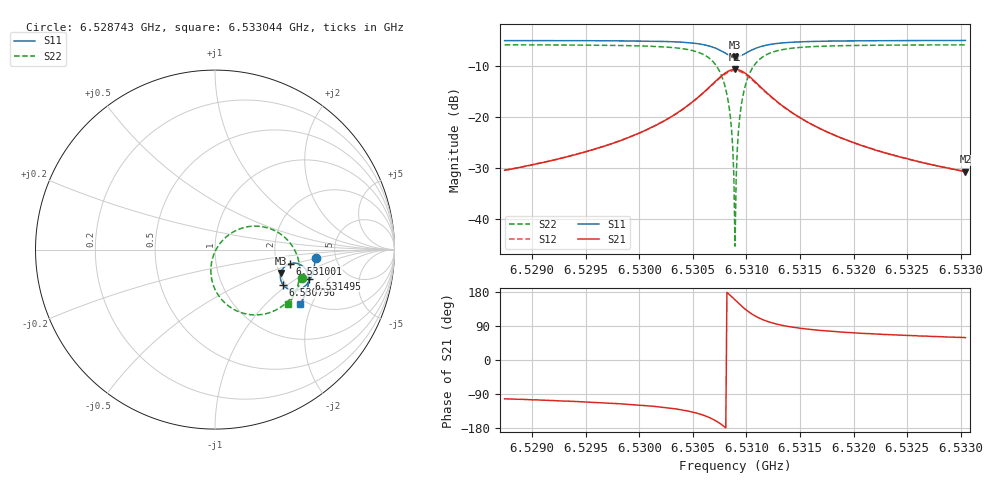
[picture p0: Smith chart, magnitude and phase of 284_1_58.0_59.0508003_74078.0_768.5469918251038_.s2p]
#  HZ  S  RI  R  50.00
! Rohde & Schwarz Vector Network Analyzer
! Rohde-Schwarz,ZNB20-2Port,1311601062101988,3.16
! Created: UTC 3/21/2024, 1:03:00 AM
! freq[Hz]  re:S11  im:S11  re:S21  im:S21  re:S12  im:S12  re:S22  im:S22
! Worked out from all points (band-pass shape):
!   401 points, 6.528743 GHz to 6.533044 GHz, reference 50 ohm
!   highest |S21| = -10.66 dB at 6.530893 GHz (marker M1); lowest = -30.8 dB at 6.533044 GHz (marker M2)
!   |S21| within 3 dB of the highest: 6.530678 GHz to 6.531109 GHz (430.8 kHz wide, 0.0066 % of centre)
!   lowest |S11| = -8.2 dB at 6.530893 GHz (marker M3), VSWR 2.27, Z = 102 - j31 ohm
!   |S11| at or under -10 dB: nowhere
!   |S22| runs from -45.4 to -5.8 dB; largest |S21 - S12| = 0.011
!   S11 on the Smith chart (normalised r, x): 6.528743 GHz: 3.50, -0.47; 6.530796 GHz: 1.93, -0.92; 6.531001 GHz: 2.38, -0.45; 6.531495 GHz: 2.76, -1.27; 6.533044 GHz: 1.86, -1.65
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6.5287425e9  0.5601 -0.0455  -0.00637 -0.0291  -0.007 -0.0291  0.486 -0.1573
6.529463e9  0.5511 -0.1049  -0.0154 -0.0415  -0.0163 -0.0412  0.4563 -0.2223
6.5301834e9  0.5242 -0.1754  -0.0474 -0.0713  -0.0494 -0.07  0.378 -0.3122
6.5306135e9  0.4562 -0.2258  -0.1505 -0.0967  -0.1529 -0.0909  0.1801 -0.36
6.5307211e9  0.4129 -0.2217  -0.2173 -0.0718  -0.2168 -0.063  0.0674 -0.3079
6.5307963e9  0.3791 -0.196  -0.2669 -0.016  -0.2614 -0.00662  -0.0067 -0.206
6.5308393e9  0.3664 -0.1695  -0.2822 0.0346  -0.2739 0.0423  -0.0232 -0.1197
6.5308608e9  0.364 -0.1538  -0.2828 0.0633  -0.2736 0.0695  -0.0195 -0.0725
6.5308716e9  0.3642 -0.1459  -0.2811 0.0779  -0.2714 0.0833  -0.0139 -0.0489
6.5308824e9  0.3651 -0.1377  -0.2778 0.0924  -0.2678 0.097  -0.00607 -0.0256
6.5308931e9  0.367 -0.1296  -0.2731 0.1067  -0.2629 0.1102  0.00406 -0.00348
6.5309039e9  0.3697 -0.122  -0.267 0.1204  -0.2568 0.123  0.0164 0.0178
6.5309146e9  0.3733 -0.1146  -0.2597 0.1332  -0.2495 0.1351  0.0306 0.0376
6.5309254e9  0.3775 -0.1076  -0.2511 0.1453  -0.2411 0.1463  0.0465 0.0559
6.5309469e9  0.3879 -0.0957  -0.2313 0.1662  -0.2221 0.1657  0.0826 0.0865
6.5310006e9  0.4193 -0.078  -0.1737 0.1972  -0.1672 0.1945  0.1826 0.1274
6.5310652e9  0.4554 -0.0767  -0.1106 0.2014  -0.1068 0.1984  0.2886 0.1222
6.5311619e9  0.4913 -0.0945  -0.0486 0.1772  -0.0468 0.1752  0.3891 0.0678
6.5314953e9  0.5218 -0.1611  0.0106 0.098  0.0116 0.0978  0.4715 -0.0965
6.5316135e9  0.5218 -0.1781  0.0146 0.0825  0.0156 0.0823  0.4725 -0.1309
6.532334e9  0.5025 -0.2505  0.0167 0.0395  0.0176 0.0393  0.4442 -0.2449
6.5330437e9  0.4756 -0.303  0.0148 0.0247  0.0154 0.0246  0.4091 -0.3053
